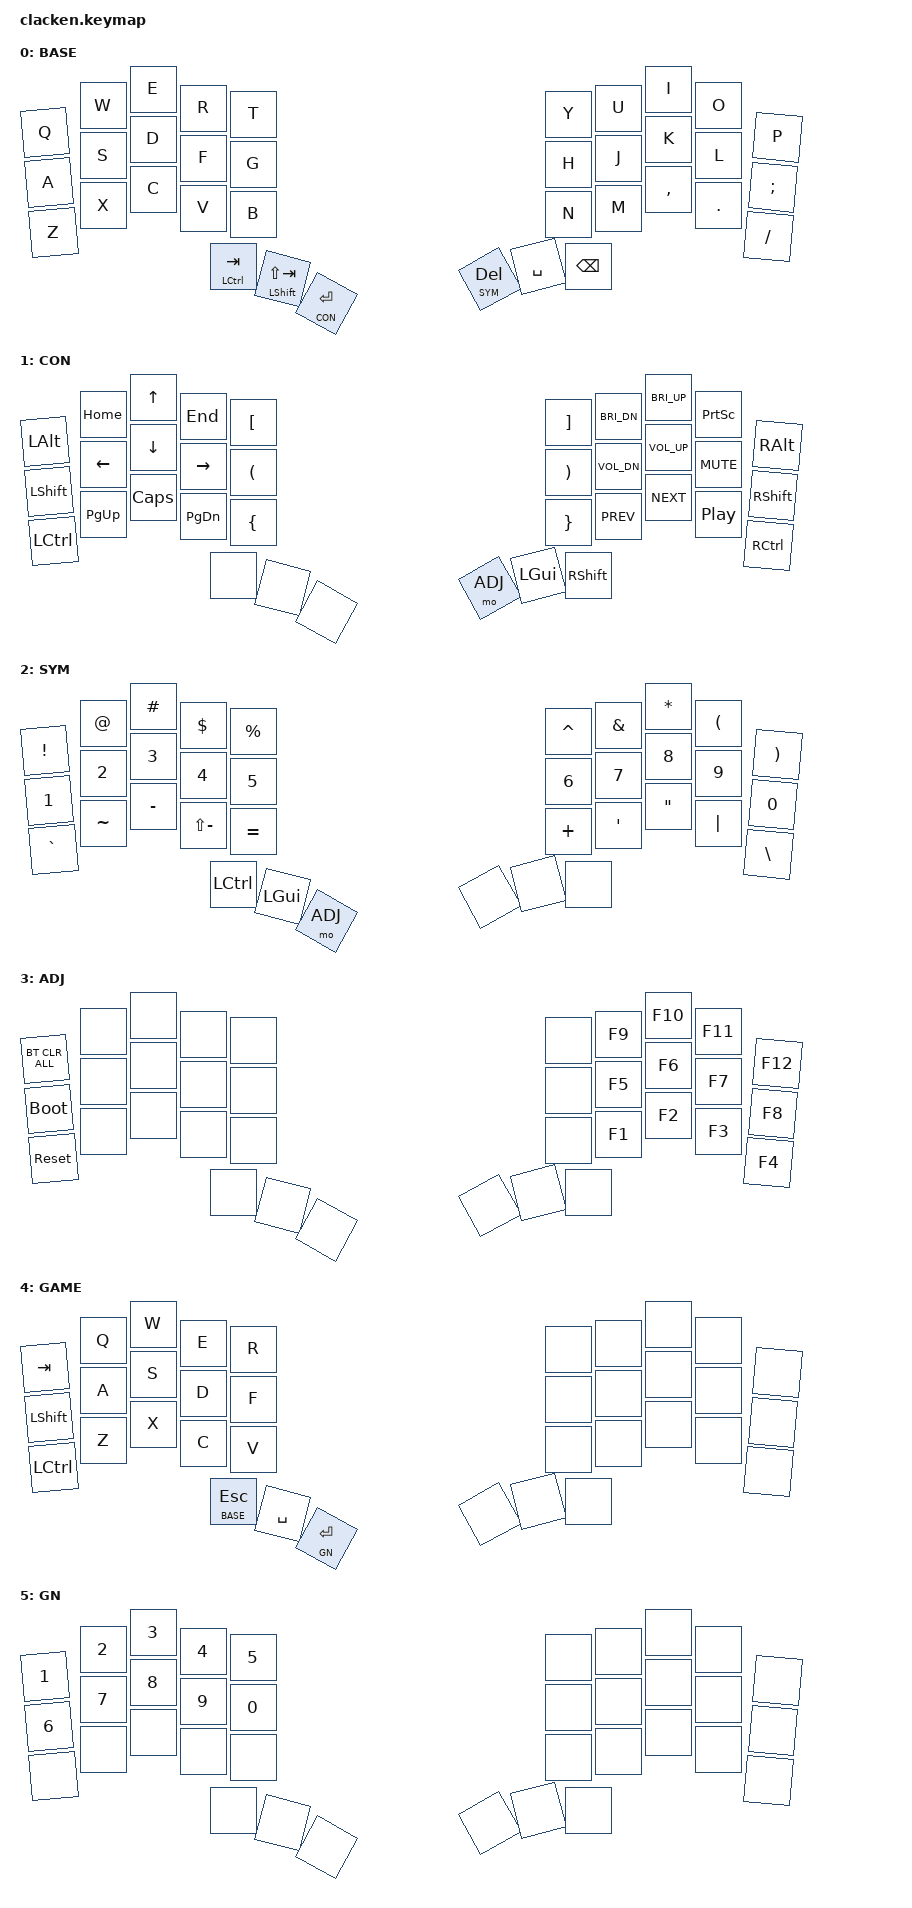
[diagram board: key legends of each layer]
#include <behaviors.dtsi>
#include <dt-bindings/zmk/keys.h>
#include <dt-bindings/zmk/bt.h>
#include <dt-bindings/zmk/outputs.h>

#define BASE 0
#define CON  1
#define SYM  2
#define ADJ  3
#define GAME 4
#define GN   5

// timeout for the combos. see below
#define TIMEOUT 50

// if held for longer than 100ms, do first option
// if tapped in under 100ms, do second option. if double-tapped in under 150ms, hold down second option // not working at the moment
&mt {
  quick-tap-ms = <100>;
  global-quick-tap;
  flavor = "tap-preferred";
  tapping-term-ms = <150>;
};

/ {
        keymap {
                compatible = "zmk,keymap";
// ▄▄▄▄▄▄▄▄▄▄▄▄▄▄▄▄▄▄▄▄▄▄▄▄▄▄▄▄▄▄▄▄▄▄▄▄▄▄▄▄▄▄▄▄▄▄▄▄▄▄▄▄▄▄▄▄▄▄▄▄▄▄▄▄▄▄▄▄▄▄▄▄▄▄▄▄▄▄▄▄▄▄▄▄▄▄▄▄▄▄▄▄▄▄▄▄▄▄▄▄▄▄▄▄▄▄▄▄▄▄▄▄▄▄▄▄▄▄▄▄▄▄▄▄▄▄▄▄▄▄▄▄▄▄▄▄▄▄▄▄▄▄▄▄▄▄▄▄▄

                base_layer {
// ┏━━━━━━━━━━━━━━━━━━━━━━━━━━━━━━━━━━━━━━━┓
label= "BASE"                              ;
// ┗━━━━━━━━━━━━━━━━━━━━━━━━━━━━━━━━━━━━━━━┛
//             ┏━━━━━━━━━━━┳━━━━━━━━━━━┳━━━━━━━━━━━┳━━━━━━━━━━━┳━━━━━━━━━━━┓   ┏━━━━━━━━━━━┳━━━━━━━━━━━┳━━━━━━━━━━━┳━━━━━━━━━━━┳━━━━━━━━━━━┓
//             ┃     Q     ┃     W     ┃     E     ┃     R     ┃     T     ┃   ┃     Y     ┃     U     ┃     I     ┃     O     ┃     P     ┃
//             ┣━━━━━━━━━━━╋━━━━━━━━━━━╋━━━━━━━━━━━╋━━━━━━━━━━━╋━━━━━━━━━━━┫   ┣━━━━━━━━━━━╋━━━━━━━━━━━╋━━━━━━━━━━━╋━━━━━━━━━━━╋━━━━━━━━━━━┫
//             ┃     A     ┃     S     ┃     D     ┃     F     ┃     G     ┃   ┃     H     ┃     J     ┃     K     ┃     L     ┃     ;     ┃
//             ┣━━━━━━━━━━━╋━━━━━━━━━━━╋━━━━━━━━━━━╋━━━━━━━━━━━╋━━━━━━━━━━━┫   ┣━━━━━━━━━━━╋━━━━━━━━━━━╋━━━━━━━━━━━╋━━━━━━━━━━━╋━━━━━━━━━━━┫
//             ┃     Z     ┃     X     ┃     C     ┃     V     ┃     B     ┃   ┃     N     ┃     M     ┃     ,     ┃     .     ┃     /     ┃
//             ┗━━━━━━━━━━━┻━━━━━━━━━━━╋━━━━━━━━━━━╋━━━━━━━━━━━╋━━━━━━━━━━━┫   ┣━━━━━━━━━━━╋━━━━━━━━━━━╋━━━━━━━━━━━╋━━━━━━━━━━━┻━━━━━━━━━━━┛
//                                     ┃  CTRL/TAB ┃ LS/LS-TAB ┃ ENTER/CON ┃   ┃  DEL/SYM  ┃    SPC    ┃   BSPC    ┃
//                                     ┗━━━━━━━━━━━┻━━━━━━━━━━━┻━━━━━━━━━━━┛   ┗━━━━━━━━━━━┻━━━━━━━━━━━┻━━━━━━━━━━━┛
 bindings = <
// ╷           ╷           ╷           ╷           ╷           ╷           ╷   ╷           ╷           ╷           ╷           ╷           ╷

                &kp Q       &kp W       &kp E       &kp R       &kp T           &kp Y       &kp U       &kp I       &kp O       &kp P
                &kp A       &kp S       &kp D       &kp F       &kp G           &kp H       &kp J       &kp K       &kp L       &kp SEMI
                &kp Z       &kp X       &kp C       &kp V       &kp B           &kp N       &kp M       &kp COMMA   &kp DOT     &kp FSLH   
                                        &mt LCTRL TAB &mt LSHFT LS(TAB) &lt CON RET &lt SYM DEL &kp SPC &kp BSPC
                        >;
                };

// ▄▄▄▄▄▄▄▄▄▄▄▄▄▄▄▄▄▄▄▄▄▄▄▄▄▄▄▄▄▄▄▄▄▄▄▄▄▄▄▄▄▄▄▄▄▄▄▄▄▄▄▄▄▄▄▄▄▄▄▄▄▄▄▄▄▄▄▄▄▄▄▄▄▄▄▄▄▄▄▄▄▄▄▄▄▄▄▄▄▄▄▄▄▄▄▄▄▄▄▄▄▄▄▄▄▄▄▄▄▄▄▄▄▄▄▄▄▄▄▄▄▄▄▄▄▄▄▄▄▄▄▄▄▄▄▄▄▄▄▄▄▄▄▄▄▄▄▄▄


                control_layer {
// ┏━━━━━━━━━━━━━━━━━━━━━━━━━━━━━━━━━━━━━━━┓
label= "CON"                               ;
// ┗━━━━━━━━━━━━━━━━━━━━━━━━━━━━━━━━━━━━━━━┛
//             ┏━━━━━━━━━━━┳━━━━━━━━━━━┳━━━━━━━━━━━┳━━━━━━━━━━━┳━━━━━━━━━━━┓   ┏━━━━━━━━━━━┳━━━━━━━━━━━┳━━━━━━━━━━━┳━━━━━━━━━━━┳━━━━━━━━━━━┓
//             ┃    ALT    ┃   HOME    ┃     UP    ┃    END    ┃     [     ┃   ┃     ]     ┃    BRI-   ┃    BRI+   ┃   PRTSC   ┃    ALT    ┃
//             ┣━━━━━━━━━━━╋━━━━━━━━━━━╋━━━━━━━━━━━╋━━━━━━━━━━━╋━━━━━━━━━━━┫   ┣━━━━━━━━━━━╋━━━━━━━━━━━╋━━━━━━━━━━━╋━━━━━━━━━━━╋━━━━━━━━━━━┫
//             ┃   SHIFT   ┃   LEFT    ┃    DOWN   ┃   RIGHT   ┃     (     ┃   ┃     )     ┃    VOL-   ┃    VOL+   ┃    MUTE   ┃   SHIFT   ┃
//             ┣━━━━━━━━━━━╋━━━━━━━━━━━╋━━━━━━━━━━━╋━━━━━━━━━━━╋━━━━━━━━━━━┫   ┣━━━━━━━━━━━╋━━━━━━━━━━━╋━━━━━━━━━━━╋━━━━━━━━━━━╋━━━━━━━━━━━┫
//             ┃    CTRL   ┃   P UP    ┃  C LOCK   ┃  P DOWN   ┃     {     ┃   ┃     }     ┃    PREV   ┃    NEXT   ┃  PLY/PSE  ┃   CTRL    ┃
//             ┗━━━━━━━━━━━┻━━━━━━━━━━━╋━━━━━━━━━━━╋━━━━━━━━━━━╋━━━━━━━━━━━┫   ┣━━━━━━━━━━━╋━━━━━━━━━━━╋━━━━━━━━━━━╋━━━━━━━━━━━┻━━━━━━━━━━━┛
//                                     ┃           ┃           ┃    ---    ┃   ┃    ADJ    ┃    WIN    ┃   SHIFT   ┃
//                                     ┗━━━━━━━━━━━┻━━━━━━━━━━━┻━━━━━━━━━━━┛   ┗━━━━━━━━━━━┻━━━━━━━━━━━┻━━━━━━━━━━━┛
 bindings = <
// ╷           ╷           ╷           ╷           ╷           ╷           ╷   ╷           ╷           ╷           ╷           ╷           ╷

                &kp LALT    &kp HOME    &kp UP      &kp END     &kp LBKT        &kp RBKT    &kp C_BRI_DN &kp C_BRI_UP &kp PRINTSCREEN &kp RALT
                &kp LSHFT   &kp LEFT    &kp DOWN    &kp RIGHT   &kp LPAR        &kp RPAR    &kp C_VOL_DN &kp C_VOL_UP &kp C_MUTE &kp RSHIFT
                &kp LCTRL   &kp PG_UP   &kp CAPS    &kp PG_DN   &kp LBRC        &kp RBRC    &kp C_PREV   &kp C_NEXT   &kp C_PP   &kp RCTRL    
                                        &none       &none       &none           &mo ADJ     &kp LGUI     &kp RSHFT
                        >;
                };

// ▄▄▄▄▄▄▄▄▄▄▄▄▄▄▄▄▄▄▄▄▄▄▄▄▄▄▄▄▄▄▄▄▄▄▄▄▄▄▄▄▄▄▄▄▄▄▄▄▄▄▄▄▄▄▄▄▄▄▄▄▄▄▄▄▄▄▄▄▄▄▄▄▄▄▄▄▄▄▄▄▄▄▄▄▄▄▄▄▄▄▄▄▄▄▄▄▄▄▄▄▄▄▄▄▄▄▄▄▄▄▄▄▄▄▄▄▄▄▄▄▄▄▄▄▄▄▄▄▄▄▄▄▄▄▄▄▄▄▄▄▄▄▄▄▄▄▄▄▄


                sym_layer {
// ┏━━━━━━━━━━━━━━━━━━━━━━━━━━━━━━━━━━━━━━━┓
label= "SYM"                               ;
// ┗━━━━━━━━━━━━━━━━━━━━━━━━━━━━━━━━━━━━━━━┛
//             ┏━━━━━━━━━━━┳━━━━━━━━━━━┳━━━━━━━━━━━┳━━━━━━━━━━━┳━━━━━━━━━━━┓   ┏━━━━━━━━━━━┳━━━━━━━━━━━┳━━━━━━━━━━━┳━━━━━━━━━━━┳━━━━━━━━━━━┓
//             ┃     !     ┃     @     ┃     #     ┃     $     ┃     %     ┃   ┃     ˆ     ┃     &     ┃     *     ┃     (     ┃     )     ┃
//             ┣━━━━━━━━━━━╋━━━━━━━━━━━╋━━━━━━━━━━━╋━━━━━━━━━━━╋━━━━━━━━━━━┫   ┣━━━━━━━━━━━╋━━━━━━━━━━━╋━━━━━━━━━━━╋━━━━━━━━━━━╋━━━━━━━━━━━┫
//             ┃     1     ┃     2     ┃     3     ┃     4     ┃     5     ┃   ┃     6     ┃     7     ┃     8     ┃     9     ┃     0     ┃
//             ┣━━━━━━━━━━━╋━━━━━━━━━━━╋━━━━━━━━━━━╋━━━━━━━━━━━╋━━━━━━━━━━━┫   ┣━━━━━━━━━━━╋━━━━━━━━━━━╋━━━━━━━━━━━╋━━━━━━━━━━━╋━━━━━━━━━━━┫
//             ┃     `     ┃     ~     ┃     -     ┃     _     ┃     =     ┃   ┃     +     ┃     '     ┃     "     ┃     |     ┃     \     ┃
//             ┗━━━━━━━━━━━┻━━━━━━━━━━━╋━━━━━━━━━━━╋━━━━━━━━━━━╋━━━━━━━━━━━┫   ┣━━━━━━━━━━━╋━━━━━━━━━━━╋━━━━━━━━━━━╋━━━━━━━━━━━┻━━━━━━━━━━━┛
//                                     ┃    CTRL   ┃    WIN    ┃    ADJ    ┃   ┃    ---    ┃           ┃           ┃
//                                     ┗━━━━━━━━━━━┻━━━━━━━━━━━┻━━━━━━━━━━━┛   ┗━━━━━━━━━━━┻━━━━━━━━━━━┻━━━━━━━━━━━┛
 bindings = <
// ╷           ╷           ╷           ╷           ╷           ╷           ╷   ╷           ╷           ╷           ╷           ╷           ╷

                &kp EXCL    &kp AT      &kp HASH    &kp DLLR    &kp PRCNT       &kp CARET   &kp AMPS    &kp STAR    &kp LPAR    &kp RPAR
                &kp N1      &kp N2      &kp N3      &kp N4      &kp N5          &kp N6      &kp N7      &kp N8      &kp N9      &kp N0  
                &kp GRAVE   &kp TILDE   &kp MINUS   &kp LS(MINUS) &kp EQUAL     &kp PLUS    &kp SQT     &kp DQT     &kp PIPE    &kp BSLH     
                                        &kp LCTRL   &kp LGUI    &mo ADJ         &none       &none       &none       
                        >;
                };

// ▄▄▄▄▄▄▄▄▄▄▄▄▄▄▄▄▄▄▄▄▄▄▄▄▄▄▄▄▄▄▄▄▄▄▄▄▄▄▄▄▄▄▄▄▄▄▄▄▄▄▄▄▄▄▄▄▄▄▄▄▄▄▄▄▄▄▄▄▄▄▄▄▄▄▄▄▄▄▄▄▄▄▄▄▄▄▄▄▄▄▄▄▄▄▄▄▄▄▄▄▄▄▄▄▄▄▄▄▄▄▄▄▄▄▄▄▄▄▄▄▄▄▄▄▄▄▄▄▄▄▄▄▄▄▄▄▄▄▄▄▄▄▄▄▄▄▄▄▄


                adjust_layer {
// ┏━━━━━━━━━━━━━━━━━━━━━━━━━━━━━━━━━━━━━━━┓
label= "ADJ"                               ;
// ┗━━━━━━━━━━━━━━━━━━━━━━━━━━━━━━━━━━━━━━━┛
//             ┏━━━━━━━━━━━┳━━━━━━━━━━━┳━━━━━━━━━━━┳━━━━━━━━━━━┳━━━━━━━━━━━┓   ┏━━━━━━━━━━━┳━━━━━━━━━━━┳━━━━━━━━━━━┳━━━━━━━━━━━┳━━━━━━━━━━━┓
//             ┃ BT_CLR_ALL┃           ┃           ┃           ┃           ┃   ┃           ┃    F9     ┃    F10    ┃    F11    ┃    F12    ┃
//             ┣━━━━━━━━━━━╋━━━━━━━━━━━╋━━━━━━━━━━━╋━━━━━━━━━━━╋━━━━━━━━━━━┫   ┣━━━━━━━━━━━╋━━━━━━━━━━━╋━━━━━━━━━━━╋━━━━━━━━━━━╋━━━━━━━━━━━┫
//             ┃ BOOTLOADER┃           ┃           ┃           ┃           ┃   ┃           ┃    F5     ┃    F6     ┃    F7     ┃    F8     ┃
//             ┣━━━━━━━━━━━╋━━━━━━━━━━━╋━━━━━━━━━━━╋━━━━━━━━━━━╋━━━━━━━━━━━┫   ┣━━━━━━━━━━━╋━━━━━━━━━━━╋━━━━━━━━━━━╋━━━━━━━━━━━╋━━━━━━━━━━━┫
//             ┃   RESET   ┃           ┃           ┃           ┃           ┃   ┃           ┃    F1     ┃    F2     ┃    F3     ┃    F4     ┃
//             ┗━━━━━━━━━━━┻━━━━━━━━━━━╋━━━━━━━━━━━╋━━━━━━━━━━━╋━━━━━━━━━━━┫   ┣━━━━━━━━━━━╋━━━━━━━━━━━╋━━━━━━━━━━━╋━━━━━━━━━━━┻━━━━━━━━━━━┛
//                                     ┃           ┃           ┃    ---    ┃   ┃    ---    ┃           ┃           ┃
//                                     ┗━━━━━━━━━━━┻━━━━━━━━━━━┻━━━━━━━━━━━┛   ┗━━━━━━━━━━━┻━━━━━━━━━━━┻━━━━━━━━━━━┛
 bindings = <
// ╷           ╷           ╷           ╷           ╷           ╷           ╷   ╷           ╷           ╷           ╷           ╷           ╷

                &bt BT_CLR_ALL &none    &none       &none       &none           &none       &kp F9      &kp F10     &kp F11     &kp F12
                &bootloader &none       &none       &none       &none           &none       &kp F5      &kp F6      &kp F7      &kp F8  
                &sys_reset  &none       &none       &none       &none           &none       &kp F1      &kp F2      &kp F3      &kp F4        
                                        &none       &none       &none           &none       &none       &none       
                        >;
                };

// ▄▄▄▄▄▄▄▄▄▄▄▄▄▄▄▄▄▄▄▄▄▄▄▄▄▄▄▄▄▄▄▄▄▄▄▄▄▄▄▄▄▄▄▄▄▄▄▄▄▄▄▄▄▄▄▄▄▄▄▄▄▄▄▄▄▄▄▄▄▄▄▄▄▄▄▄▄▄▄▄▄▄▄▄▄▄▄▄▄▄▄▄▄▄▄▄▄▄▄▄▄▄▄▄▄▄▄▄▄▄▄▄▄▄▄▄▄▄▄▄▄▄▄▄▄▄▄▄▄▄▄▄▄▄▄▄▄▄▄▄▄▄▄▄▄▄▄▄▄


                game_layer {
// ┏━━━━━━━━━━━━━━━━━━━━━━━━━━━━━━━━━━━━━━━┓
label= "GAME"                              ;
// ┗━━━━━━━━━━━━━━━━━━━━━━━━━━━━━━━━━━━━━━━┛
//             ┏━━━━━━━━━━━┳━━━━━━━━━━━┳━━━━━━━━━━━┳━━━━━━━━━━━┳━━━━━━━━━━━┓   ┏━━━━━━━━━━━┳━━━━━━━━━━━┳━━━━━━━━━━━┳━━━━━━━━━━━┳━━━━━━━━━━━┓
//             ┃    TAB    ┃     Q     ┃     W     ┃     E     ┃     R     ┃   ┃           ┃           ┃           ┃           ┃           ┃
//             ┣━━━━━━━━━━━╋━━━━━━━━━━━╋━━━━━━━━━━━╋━━━━━━━━━━━╋━━━━━━━━━━━┫   ┣━━━━━━━━━━━╋━━━━━━━━━━━╋━━━━━━━━━━━╋━━━━━━━━━━━╋━━━━━━━━━━━┫
//             ┃   SHIFT   ┃     A     ┃     S     ┃     D     ┃     F     ┃   ┃           ┃           ┃           ┃           ┃           ┃
//             ┣━━━━━━━━━━━╋━━━━━━━━━━━╋━━━━━━━━━━━╋━━━━━━━━━━━╋━━━━━━━━━━━┫   ┣━━━━━━━━━━━╋━━━━━━━━━━━╋━━━━━━━━━━━╋━━━━━━━━━━━╋━━━━━━━━━━━┫
//             ┃    CTRL   ┃     Z     ┃     X     ┃     C     ┃     V     ┃   ┃           ┃           ┃           ┃           ┃           ┃
//             ┗━━━━━━━━━━━┻━━━━━━━━━━━╋━━━━━━━━━━━╋━━━━━━━━━━━╋━━━━━━━━━━━┫   ┣━━━━━━━━━━━╋━━━━━━━━━━━╋━━━━━━━━━━━╋━━━━━━━━━━━┻━━━━━━━━━━━┛
//                                     ┃  ESC/BASE ┃   SPACE   ┃ ENTER/GN  ┃   ┃           ┃           ┃           ┃
//                                     ┗━━━━━━━━━━━┻━━━━━━━━━━━┻━━━━━━━━━━━┛   ┗━━━━━━━━━━━┻━━━━━━━━━━━┻━━━━━━━━━━━┛
 bindings = <
// ╷           ╷           ╷           ╷           ╷           ╷           ╷   ╷           ╷           ╷           ╷           ╷           ╷

                &kp TAB     &kp Q       &kp W       &kp E       &kp R           &none       &none       &none      &none        &none
                &kp LSHIFT  &kp A       &kp S       &kp D       &kp F           &none       &none       &none      &none        &none  
                &kp LCTRL   &kp Z       &kp X       &kp C       &kp V           &none       &none       &none      &none        &none        
                                        &lt BASE ESC &kp SPACE   &lt GN RET     &none       &none       &none     
                        >;
                };

// ▄▄▄▄▄▄▄▄▄▄▄▄▄▄▄▄▄▄▄▄▄▄▄▄▄▄▄▄▄▄▄▄▄▄▄▄▄▄▄▄▄▄▄▄▄▄▄▄▄▄▄▄▄▄▄▄▄▄▄▄▄▄▄▄▄▄▄▄▄▄▄▄▄▄▄▄▄▄▄▄▄▄▄▄▄▄▄▄▄▄▄▄▄▄▄▄▄▄▄▄▄▄▄▄▄▄▄▄▄▄▄▄▄▄▄▄▄▄▄▄▄▄▄▄▄▄▄▄▄▄▄▄▄▄▄▄▄▄▄▄▄▄▄▄▄▄▄▄▄


                gamenum_layer {
// ┏━━━━━━━━━━━━━━━━━━━━━━━━━━━━━━━━━━━━━━━┓
label= "GN"                                ;
// ┗━━━━━━━━━━━━━━━━━━━━━━━━━━━━━━━━━━━━━━━┛
//             ┏━━━━━━━━━━━┳━━━━━━━━━━━┳━━━━━━━━━━━┳━━━━━━━━━━━┳━━━━━━━━━━━┓   ┏━━━━━━━━━━━┳━━━━━━━━━━━┳━━━━━━━━━━━┳━━━━━━━━━━━┳━━━━━━━━━━━┓
//             ┃     1     ┃     2     ┃     3     ┃     4     ┃     5     ┃   ┃           ┃           ┃           ┃           ┃           ┃
//             ┣━━━━━━━━━━━╋━━━━━━━━━━━╋━━━━━━━━━━━╋━━━━━━━━━━━╋━━━━━━━━━━━┫   ┣━━━━━━━━━━━╋━━━━━━━━━━━╋━━━━━━━━━━━╋━━━━━━━━━━━╋━━━━━━━━━━━┫
//             ┃     6     ┃     7     ┃     8     ┃     9     ┃     0     ┃   ┃           ┃           ┃           ┃           ┃           ┃
//             ┣━━━━━━━━━━━╋━━━━━━━━━━━╋━━━━━━━━━━━╋━━━━━━━━━━━╋━━━━━━━━━━━┫   ┣━━━━━━━━━━━╋━━━━━━━━━━━╋━━━━━━━━━━━╋━━━━━━━━━━━╋━━━━━━━━━━━┫
//             ┃           ┃           ┃           ┃           ┃           ┃   ┃           ┃           ┃           ┃           ┃           ┃
//             ┗━━━━━━━━━━━┻━━━━━━━━━━━╋━━━━━━━━━━━╋━━━━━━━━━━━╋━━━━━━━━━━━┫   ┣━━━━━━━━━━━╋━━━━━━━━━━━╋━━━━━━━━━━━╋━━━━━━━━━━━┻━━━━━━━━━━━┛
//                                     ┃           ┃           ┃    ---    ┃   ┃           ┃           ┃           ┃
//                                     ┗━━━━━━━━━━━┻━━━━━━━━━━━┻━━━━━━━━━━━┛   ┗━━━━━━━━━━━┻━━━━━━━━━━━┻━━━━━━━━━━━┛
 bindings = <
// ╷           ╷           ╷           ╷           ╷           ╷           ╷   ╷           ╷           ╷           ╷           ╷           ╷

                &kp N1      &kp N2      &kp N3      &kp N4      &kp N5          &none       &none       &none      &none        &none
                &kp N6      &kp N7      &kp N8      &kp N9      &kp N0          &none       &none       &none      &none        &none  
                &none       &none       &none       &none       &none           &none       &none       &none      &none        &none        
                                        &none       &none       &none           &none       &none       &none     
                        >;
                };

        };


//                 here's how they're addressed for combos
//
//         0   1   2   3   4                     5   6   7   8   9
//        10  11  12  13  14                     15  16  17  18  19
//        20  21  22  23  24                     25  26  27  28  29
//                      30  31  32         33  34  35

combos {
        compatible = "zmk,combos";
        combo_esc {
                timeout-ms = <TIMEOUT>;
                key-positions = <0 1>;
                bindings = <&kp ESC>;
            };

        combo_win {
                timeout-ms = <TIMEOUT>;
                key-positions = <30 31>;
                bindings = <&kp LGUI>;
            };

        combo_game {
                timeout-ms = <TIMEOUT>;
                key-positions = <30 31 32>;
                bindings = <&tog GAME>;
            };
    };

};
